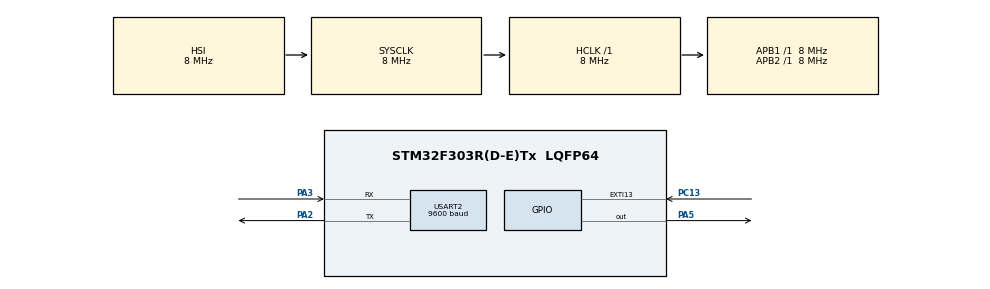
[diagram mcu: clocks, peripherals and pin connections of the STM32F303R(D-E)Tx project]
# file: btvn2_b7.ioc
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Mcu.Family=STM32F3
Mcu.Name=STM32F303R(D-E)Tx
Mcu.Package=LQFP64
NVIC.EXTI15_10_IRQn=true\:0\:0\:false\:false\:true\:true\:true
NVIC.PriorityGroup=NVIC_PRIORITYGROUP_4
PA13.Mode=Serial_Wire
PA13.Signal=SYS_JTMS-SWDIO
PA14.Mode=Serial_Wire
PA14.Signal=SYS_JTCK-SWCLK
PA2.Mode=Asynchronous
PA2.Signal=USART2_TX
PA3.Mode=Asynchronous
PA3.Signal=USART2_RX
PA5.Signal=GPIO_Output
PC13.GPIO_ModeDefaultEXTI=GPIO_MODE_IT_FALLING
PC13.Signal=GPXTI13
ProjectManager.HeapSize=0x200
ProjectManager.StackSize=0x400
ProjectManager.TargetToolchain=STM32CubeIDE
RCC.AHBFreq_Value=8000000
RCC.APB1Freq_Value=8000000
RCC.APB2Freq_Value=8000000
RCC.CortexFreq_Value=8000000
RCC.HSE_VALUE=8000000
RCC.HSI_VALUE=8000000
RCC.LSE_VALUE=32768
RCC.SYSCLKFreq_VALUE=8000000
RCC.USBFreq_Value=16000000
USART2.BaudRate=9600
USART2.VirtualMode-Asynchronous=VM_ASYNC
board=custom

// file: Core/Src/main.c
/* USER CODE BEGIN Header */
/**
  ******************************************************************************
  * @file           : main.c
  * @brief          : Main program body
  ******************************************************************************
  * @attention
  *
  * <h2><center>&copy; Copyright (c) 2021 STMicroelectronics.
  * All rights reserved.</center></h2>
  *
  * This software component is licensed by ST under BSD 3-Clause license,
  * the "License"; You may not use this file except in compliance with the
  * License. You may obtain a copy of the License at:
  *                        opensource.org/licenses/BSD-3-Clause
  *
  ******************************************************************************
  */
/* USER CODE END Header */
#include "main.h"

UART_HandleTypeDef huart2;

void SystemClock_Config(void);
static void MX_GPIO_Init(void);
static void MX_USART2_UART_Init(void);

/* USER CODE BEGIN 0 */
void HAL_GPIO_EXTI_Callback(uint16_t GPIO_Pin){
if(HAL_GPIO_ReadPin(GPIOC,GPIO_PIN_13)== GPIO_PIN_RESET){
	  HAL_GPIO_TogglePin(GPIOA,GPIO_PIN_5);
	  for(uint16_t i=0;i<10000;i++);
	  while(HAL_GPIO_ReadPin(GPIOC,GPIO_PIN_13)==GPIO_PIN_RESET);
	  for(uint16_t i=0;i<10000;i++);
	  EXTI->PR |= GPIO_PIN_13;
	}
}
/* USER CODE END 0 */

int main(void)
{

  /* MCU Configuration--------------------------------------------------------*/

  /* Reset of all peripherals, Initializes the Flash interface and the Systick. */
  HAL_Init();

  /* Configure the system clock */
  SystemClock_Config();

  /* Initialize all configured peripherals */
  MX_GPIO_Init();
  MX_USART2_UART_Init();
  /* USER CODE BEGIN 2 */
uint8_t mang1[7]= "LED ON\n";
uint8_t mang2[8]= "LED OFF\n";
  /* USER CODE END 2 */

  /* Infinite loop */
  /* USER CODE BEGIN WHILE */
  while (1)
  {
	  if(HAL_GPIO_ReadPin(GPIOA, GPIO_PIN_5)==GPIO_PIN_SET){
		  HAL_UART_Transmit(&huart2,mang1,7,100);
		  HAL_Delay(1000);
	  }
	  else{
		  HAL_UART_Transmit(&huart2,mang2,8,100);
		  HAL_Delay(1000);
	  }
    /* USER CODE END WHILE */

  }
}

void SystemClock_Config(void)
{
  RCC_OscInitTypeDef RCC_OscInitStruct = {0};
  RCC_ClkInitTypeDef RCC_ClkInitStruct = {0};
  RCC_PeriphCLKInitTypeDef PeriphClkInit = {0};

  /** Initializes the RCC Oscillators according to the specified parameters
  * in the RCC_OscInitTypeDef structure.
  */
  RCC_OscInitStruct.OscillatorType = RCC_OSCILLATORTYPE_HSI;
  RCC_OscInitStruct.HSIState = RCC_HSI_ON;
  RCC_OscInitStruct.HSICalibrationValue = RCC_HSICALIBRATION_DEFAULT;
  RCC_OscInitStruct.PLL.PLLState = RCC_PLL_NONE;
  if (HAL_RCC_OscConfig(&RCC_OscInitStruct) != HAL_OK)
  {
    Error_Handler();
  }
  /** Initializes the CPU, AHB and APB buses clocks
  */
  RCC_ClkInitStruct.ClockType = RCC_CLOCKTYPE_HCLK|RCC_CLOCKTYPE_SYSCLK
                              |RCC_CLOCKTYPE_PCLK1|RCC_CLOCKTYPE_PCLK2;
  RCC_ClkInitStruct.SYSCLKSource = RCC_SYSCLKSOURCE_HSI;
  RCC_ClkInitStruct.AHBCLKDivider = RCC_SYSCLK_DIV1;
  RCC_ClkInitStruct.APB1CLKDivider = RCC_HCLK_DIV1;
  RCC_ClkInitStruct.APB2CLKDivider = RCC_HCLK_DIV1;

  if (HAL_RCC_ClockConfig(&RCC_ClkInitStruct, FLASH_LATENCY_0) != HAL_OK)
  {
    Error_Handler();
  }
  PeriphClkInit.PeriphClockSelection = RCC_PERIPHCLK_USART2;
  PeriphClkInit.Usart2ClockSelection = RCC_USART2CLKSOURCE_PCLK1;
  if (HAL_RCCEx_PeriphCLKConfig(&PeriphClkInit) != HAL_OK)
  {
    Error_Handler();
  }
}

static void MX_USART2_UART_Init(void)
{

  huart2.Instance = USART2;
  huart2.Init.BaudRate = 9600;
  huart2.Init.WordLength = UART_WORDLENGTH_8B;
  huart2.Init.StopBits = UART_STOPBITS_1;
  huart2.Init.Parity = UART_PARITY_NONE;
  huart2.Init.Mode = UART_MODE_TX_RX;
  huart2.Init.HwFlowCtl = UART_HWCONTROL_NONE;
  huart2.Init.OverSampling = UART_OVERSAMPLING_16;
  huart2.Init.OneBitSampling = UART_ONE_BIT_SAMPLE_DISABLE;
  huart2.AdvancedInit.AdvFeatureInit = UART_ADVFEATURE_NO_INIT;
  if (HAL_UART_Init(&huart2) != HAL_OK)
  {
    Error_Handler();
  }

}

static void MX_GPIO_Init(void)
{
  GPIO_InitTypeDef GPIO_InitStruct = {0};

  /* GPIO Ports Clock Enable */
  __HAL_RCC_GPIOC_CLK_ENABLE();
  __HAL_RCC_GPIOA_CLK_ENABLE();

  /*Configure GPIO pin Output Level */
  HAL_GPIO_WritePin(GPIOA, GPIO_PIN_5, GPIO_PIN_RESET);

  /*Configure GPIO pin : PC13 */
  GPIO_InitStruct.Pin = GPIO_PIN_13;
  GPIO_InitStruct.Mode = GPIO_MODE_IT_FALLING;
  GPIO_InitStruct.Pull = GPIO_NOPULL;
  HAL_GPIO_Init(GPIOC, &GPIO_InitStruct);

  /*Configure GPIO pin : PA5 */
  GPIO_InitStruct.Pin = GPIO_PIN_5;
  GPIO_InitStruct.Mode = GPIO_MODE_OUTPUT_PP;
  GPIO_InitStruct.Pull = GPIO_NOPULL;
  GPIO_InitStruct.Speed = GPIO_SPEED_FREQ_LOW;
  HAL_GPIO_Init(GPIOA, &GPIO_InitStruct);

  /* EXTI interrupt init*/
  HAL_NVIC_SetPriority(EXTI15_10_IRQn, 0, 0);
  HAL_NVIC_EnableIRQ(EXTI15_10_IRQn);

}

void Error_Handler(void)
{
  __disable_irq();
  while (1)
  {
  }
}

/************************ (C) COPYRIGHT STMicroelectronics *****END OF FILE****/
